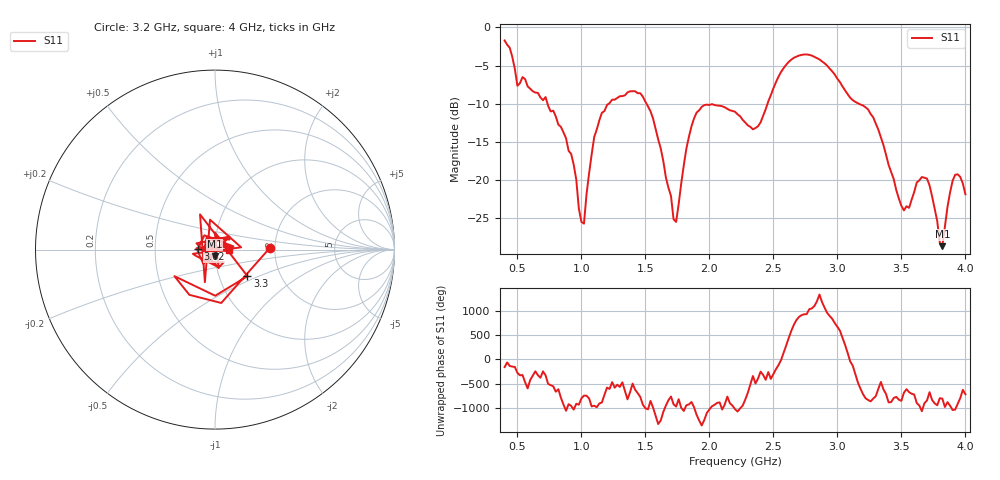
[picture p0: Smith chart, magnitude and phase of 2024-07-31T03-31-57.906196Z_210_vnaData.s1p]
!Created with skrf (http://scikit-rf.org).
# Hz S RI R 50.0
!freq ReS11 ImS11
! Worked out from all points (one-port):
!   181 points, 400 MHz to 4 GHz, reference 50 ohm
!   lowest |S11| = -28.7 dB at 3.82 GHz (marker M1), VSWR 1.08, Z = 49.8 - j3.66 ohm
!   |S11| at or under -10 dB: 735.1 MHz to 1.214 GHz (479.1 MHz wide, 49.2 % of centre); 1.508 GHz to 2.454 GHz (945.8 MHz wide, 47.7 % of centre); 3.166 GHz to end of sweep
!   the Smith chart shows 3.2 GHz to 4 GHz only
!   S11 on the Smith chart (normalised r, x): 3.2 GHz: 1.89, +0.05; 3.3 GHz: 1.36, -0.43; 3.62 GHz: 0.82, +0.00; 4 GHz: 1.18, +0.00
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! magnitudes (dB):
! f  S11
! 400 MHz  -1.7
! 500 MHz  -7.7
! 720 MHz  -9.1
! 860 MHz  -13.8
! 940 MHz  -18.0
! 1.02 GHz  -25.7
! 1.1 GHz  -14.4
! 1.3 GHz  -9.0
! 1.48 GHz  -9.1
! 1.62 GHz  -15.9
! 1.72 GHz  -25.2
! 1.76 GHz  -23.2
! 1.82 GHz  -15.9
! 1.9 GHz  -11.2
! 2.2 GHz  -11.1
! 2.38 GHz  -13.0
! 2.66 GHz  -4.0
! 2.86 GHz  -4.2
! 3.1 GHz  -9.2
! 3.2 GHz  -10.2
! 3.3 GHz  -12.6
! 3.5 GHz  -23.4
! 3.56 GHz  -23.7
! 3.62 GHz  -20.4
! 3.7 GHz  -19.8
! 3.82 GHz  -28.7
! 3.92 GHz  -19.3
! 4 GHz  -21.9
